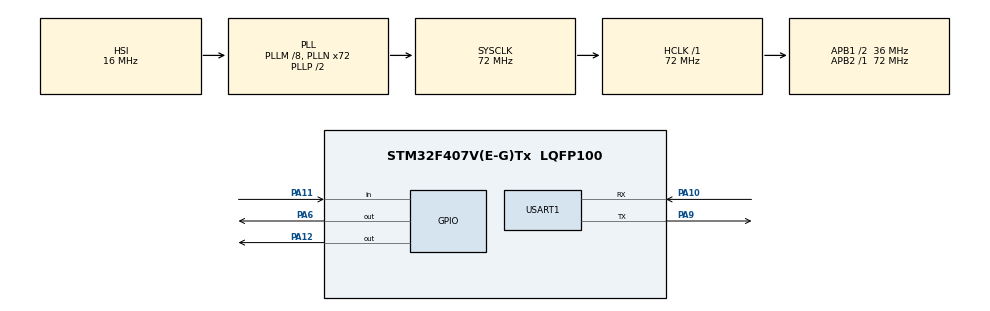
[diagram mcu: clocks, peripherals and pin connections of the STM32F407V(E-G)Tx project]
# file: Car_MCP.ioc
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Mcu.Family=STM32F4
Mcu.Name=STM32F407V(E-G)Tx
Mcu.Package=LQFP100
NVIC.PriorityGroup=NVIC_PRIORITYGROUP_4
PA10.Mode=Asynchronous
PA10.Signal=USART1_RX
PA11.Signal=GPIO_Input
PA12.Signal=GPIO_Output
PA6.PinState=GPIO_PIN_SET
PA6.Signal=GPIO_Output
PA9.Mode=Asynchronous
PA9.Signal=USART1_TX
PH0-OSC_IN.Mode=HSE-External-Oscillator
PH0-OSC_IN.Signal=RCC_OSC_IN
PH1-OSC_OUT.Mode=HSE-External-Oscillator
PH1-OSC_OUT.Signal=RCC_OSC_OUT
ProjectManager.HeapSize=0x200
ProjectManager.StackSize=0x400
ProjectManager.TargetToolchain=STM32CubeIDE
RCC.48MHZClocksFreq_Value=36000000
RCC.AHBFreq_Value=72000000
RCC.APB1CLKDivider=RCC_HCLK_DIV2
RCC.APB1Freq_Value=36000000
RCC.APB1TimFreq_Value=72000000
RCC.APB2Freq_Value=72000000
RCC.APB2TimFreq_Value=72000000
RCC.CortexFreq_Value=72000000
RCC.HCLKFreq_Value=72000000
RCC.HSE_VALUE=25000000
RCC.HSI_VALUE=16000000
RCC.PLLM=8
RCC.PLLN=72
RCC.SYSCLKFreq_VALUE=72000000
RCC.SYSCLKSource=RCC_SYSCLKSOURCE_PLLCLK
RCC.VCOOutputFreq_Value=144000000
TIM1.Prescaler=71
USART1.VirtualMode=VM_ASYNC
VP_TIM1_VS_ClockSourceINT.Mode=Internal
board=custom

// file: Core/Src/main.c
/* USER CODE BEGIN Header */
/**
  ******************************************************************************
  * @file           : main.c
  * @brief          : Main program body
  ******************************************************************************
  * @attention
  *
  * Copyright (c) 2024 STMicroelectronics.
  * All rights reserved.
  *
  * This software is licensed under terms that can be found in the LICENSE file
  * in the root directory of this software component.
  * If no LICENSE file comes with this software, it is provided AS-IS.
  *
  ******************************************************************************
  */
/* USER CODE END Header */
#include "main.h"
#include "tim.h"
#include "usart.h"
#include "gpio.h"

/* USER CODE BEGIN PV */
//uint8_t txData[30] = "Hello World!\r\n";
uint8_t txData[30];
uint8_t rxData[2];
#define TRIG_PIN GPIO_PIN_12
#define TRIG_PORT GPIOA
#define ECHO_PIN GPIO_PIN_11
#define ECHO_PORT GPIOA
uint32_t pMillis;
uint32_t Value1 = 0;
uint32_t Value2 = 0;
uint16_t Distance  = 0;  // cm
/* USER CODE END PV */

void SystemClock_Config(void);

int main(void)
{

  /* MCU Configuration--------------------------------------------------------*/

  /* Reset of all peripherals, Initializes the Flash interface and the Systick. */
  HAL_Init();

  /* Configure the system clock */
  SystemClock_Config();

  /* Initialize all configured peripherals */
  MX_GPIO_Init();
  MX_USART1_UART_Init();
  MX_TIM1_Init();
  /* USER CODE BEGIN 2 */

  HAL_TIM_Base_Start(&htim1);
  HAL_GPIO_WritePin(TRIG_PORT, TRIG_PIN, GPIO_PIN_RESET);  // pull the TRIG pin low

  /* USER CODE END 2 */

  /* Infinite loop */
  /* USER CODE BEGIN WHILE */
  while (1)
  {
    //HAL_Delay(200);
	  HAL_GPIO_TogglePin(GPIOA, GPIO_PIN_6);

    HAL_GPIO_WritePin(TRIG_PORT, TRIG_PIN, GPIO_PIN_SET);  // pull the TRIG pin HIGH
	  __HAL_TIM_SET_COUNTER(&htim1, 0);
	  while (__HAL_TIM_GET_COUNTER (&htim1) < 10);  // wait for 10 us
	  HAL_GPIO_WritePin(TRIG_PORT, TRIG_PIN, GPIO_PIN_RESET);  // pull the TRIG pin low

	  pMillis = HAL_GetTick(); // used this to avoid infinite while loop  (for timeout)
		// wait for the echo pin to go high
	  while (!(HAL_GPIO_ReadPin (ECHO_PORT, ECHO_PIN)) && pMillis + 10 >  HAL_GetTick());
	  Value1 = __HAL_TIM_GET_COUNTER (&htim1);

	  pMillis = HAL_GetTick(); // used this to avoid infinite while loop (for timeout)
	  // wait for the echo pin to go low
	  while ((HAL_GPIO_ReadPin (ECHO_PORT, ECHO_PIN)) && pMillis + 10 > HAL_GetTick());
	  Value2 = __HAL_TIM_GET_COUNTER (&htim1);

	  Distance = (Value2-Value1)* 0.034/2;
	  int len = snprintf((char*)txData, sizeof(txData), "%u\r\n", Distance);
    // Send data
	  HAL_UART_Transmit(&huart1, txData, sizeof(txData), 100);

    // Receive data
	  HAL_UART_Receive(&huart1, rxData, sizeof(rxData), 100);

	  HAL_Delay(1000);

    /* USER CODE END WHILE */

  }
}

void SystemClock_Config(void)
{
  RCC_OscInitTypeDef RCC_OscInitStruct = {0};
  RCC_ClkInitTypeDef RCC_ClkInitStruct = {0};

  /** Configure the main internal regulator output voltage
  */
  __HAL_RCC_PWR_CLK_ENABLE();
  __HAL_PWR_VOLTAGESCALING_CONFIG(PWR_REGULATOR_VOLTAGE_SCALE1);

  /** Initializes the RCC Oscillators according to the specified parameters
  * in the RCC_OscInitTypeDef structure.
  */
  RCC_OscInitStruct.OscillatorType = RCC_OSCILLATORTYPE_HSI;
  RCC_OscInitStruct.HSIState = RCC_HSI_ON;
  RCC_OscInitStruct.HSICalibrationValue = RCC_HSICALIBRATION_DEFAULT;
  RCC_OscInitStruct.PLL.PLLState = RCC_PLL_ON;
  RCC_OscInitStruct.PLL.PLLSource = RCC_PLLSOURCE_HSI;
  RCC_OscInitStruct.PLL.PLLM = 8;
  RCC_OscInitStruct.PLL.PLLN = 72;
  RCC_OscInitStruct.PLL.PLLP = RCC_PLLP_DIV2;
  RCC_OscInitStruct.PLL.PLLQ = 4;
  if (HAL_RCC_OscConfig(&RCC_OscInitStruct) != HAL_OK)
  {
    Error_Handler();
  }

  /** Initializes the CPU, AHB and APB buses clocks
  */
  RCC_ClkInitStruct.ClockType = RCC_CLOCKTYPE_HCLK|RCC_CLOCKTYPE_SYSCLK
                              |RCC_CLOCKTYPE_PCLK1|RCC_CLOCKTYPE_PCLK2;
  RCC_ClkInitStruct.SYSCLKSource = RCC_SYSCLKSOURCE_PLLCLK;
  RCC_ClkInitStruct.AHBCLKDivider = RCC_SYSCLK_DIV1;
  RCC_ClkInitStruct.APB1CLKDivider = RCC_HCLK_DIV2;
  RCC_ClkInitStruct.APB2CLKDivider = RCC_HCLK_DIV1;

  if (HAL_RCC_ClockConfig(&RCC_ClkInitStruct, FLASH_LATENCY_2) != HAL_OK)
  {
    Error_Handler();
  }
}

void Error_Handler(void)
{
  __disable_irq();
  while (1)
  {
  }
}
